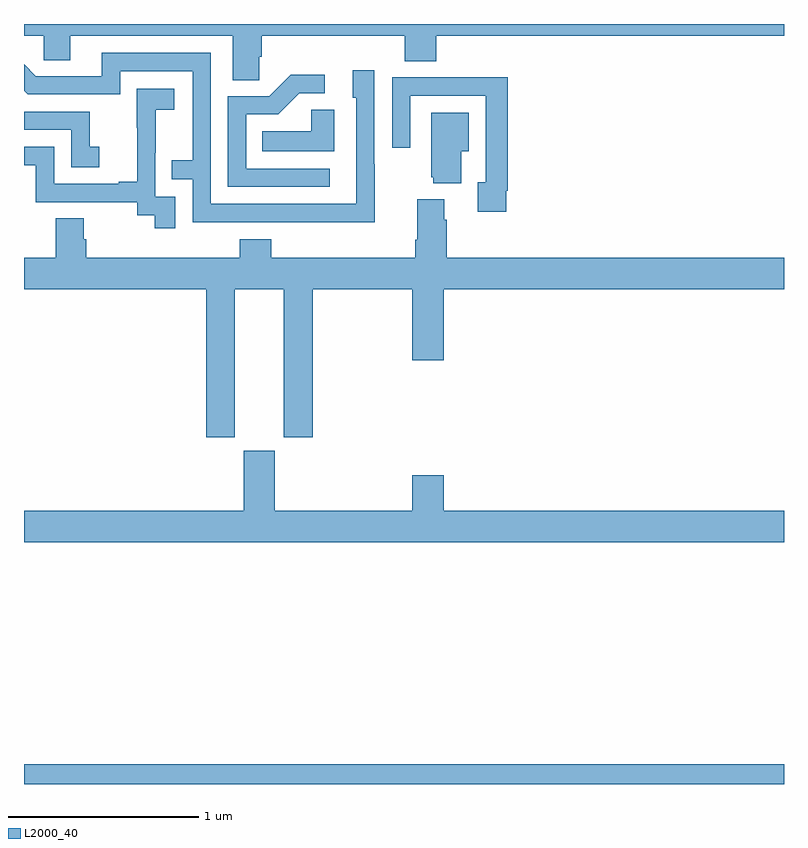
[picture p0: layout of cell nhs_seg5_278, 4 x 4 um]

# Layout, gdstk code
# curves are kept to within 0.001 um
import gdstk
lib = gdstk.Library(unit=1e-6, precision=1e-09)
def R(c, l, rs):  # rectangles x0, y0, x1, y1
    for r in rs: c.add(gdstk.rectangle(r[:2], r[2:], *l))
def P(c, l, *ps):  # polygons
    for p in ps: c.add(gdstk.Polygon(p, *l))
L2000_40 = (2000, 40)

nhs_seg5_278 = lib.new_cell('nhs_seg5_278')
R(nhs_seg5_278, L2000_40, [(127,876.799,131,876.904)])
P(nhs_seg5_278, L2000_40, [(128.238,880.627),(128.252,880.627),(128.252,880.736),(129.005,880.736),(129.005,880.603),(129.17,880.603),(129.17,880.736),(131,880.736),(131,880.799),(127,880.799),(127,880.736),(127.104,880.736),(127.104,880.609),(127.243,880.609),(127.243,880.736),(128.099,880.736),(128.099,880.504),(128.238,880.504)],
  [(128.847,880.061),(128.844,880.061),(128.844,880.555),(128.729,880.555),(128.729,880.41),(128.748,880.41),(128.748,879.852),(127.983,879.852),(127.983,880.647),(127.409,880.647),(127.409,880.524),(127.062,880.524),(127,880.586),(127,880.448),(127.02,880.428),(127.506,880.428),(127.506,880.551),(127.887,880.551),(127.887,880.082),(127.777,880.082),(127.777,879.981),(127.887,879.981),(127.887,879.756),(128.847,879.755)],
  [(128.608,880.038),(128.169,880.038),(128.169,880.323),(128.338,880.323),(128.449,880.434),(128.584,880.434),(128.584,880.532),(128.405,880.532),(128.292,880.419),(128.073,880.419),(128.073,879.942),(128.608,879.942)],
  [(129.538,879.922),(129.545,879.922),(129.545,880.52),(129.253,880.52),(129.253,880.518),(128.937,880.518),(128.937,880.149),(129.033,880.149),(129.033,880.422),(129.429,880.422),(129.429,879.966),(129.389,879.966),(129.389,879.81),(129.538,879.81)],
  [(127.797,879.891),(127.692,879.891),(127.692,880.121),(127.694,880.121),(127.694,880.349),(127.792,880.349),(127.792,880.459),(127.594,880.459),(127.594,880.253),(127.595,880.253),(127.595,879.97),(127.499,879.97),(127.499,879.957),(127.158,879.957),(127.158,880.152),(127,880.152),(127,880.056),(127.062,880.056),(127.062,879.861),(127.596,879.861),(127.596,879.793),(127.689,879.793),(127.689,879.723),(127.797,879.723)],
  [(128.632,880.349),(128.511,880.349),(128.511,880.234),(128.254,880.234),(128.254,880.13),(128.632,880.13)],
  [(127.396,880.153),(127.347,880.153),(127.347,880.338),(127,880.338),(127,880.242),(127.248,880.242),(127.248,880.044),(127.396,880.044)],
  [(129.301,880.13),(129.34,880.13),(129.34,880.333),(129.143,880.333),(129.143,879.993),(129.155,879.993),(129.155,879.962),(129.301,879.962)],
  [(128.11,879.404),(128.366,879.404),(128.366,878.625),(128.519,878.625),(128.519,879.404),(129.044,879.404),(129.044,879.03),(129.208,879.03),(129.208,879.404),(131,879.404),(131,879.568),(129.224,879.568),(129.224,879.77),(129.211,879.77),(129.211,879.877),(129.071,879.877),(129.071,879.664),(129.059,879.664),(129.059,879.568),(128.3,879.568),(128.3,879.667),(128.135,879.667),(128.135,879.568),(127.328,879.568),(127.328,879.666),(127.315,879.666),(127.315,879.776),(127.168,879.776),(127.168,879.568),(127,879.568),(127,879.404),(127.958,879.404),(127.958,878.625),(128.11,878.625)],
  [(131,878.236),(129.208,878.236),(129.208,878.425),(129.044,878.425),(129.044,878.236),(128.32,878.236),(128.32,878.553),(128.156,878.553),(128.156,878.236),(127,878.236),(127,878.072),(131,878.072)])

lib.write_gds('nhs_seg5_278.gds')
